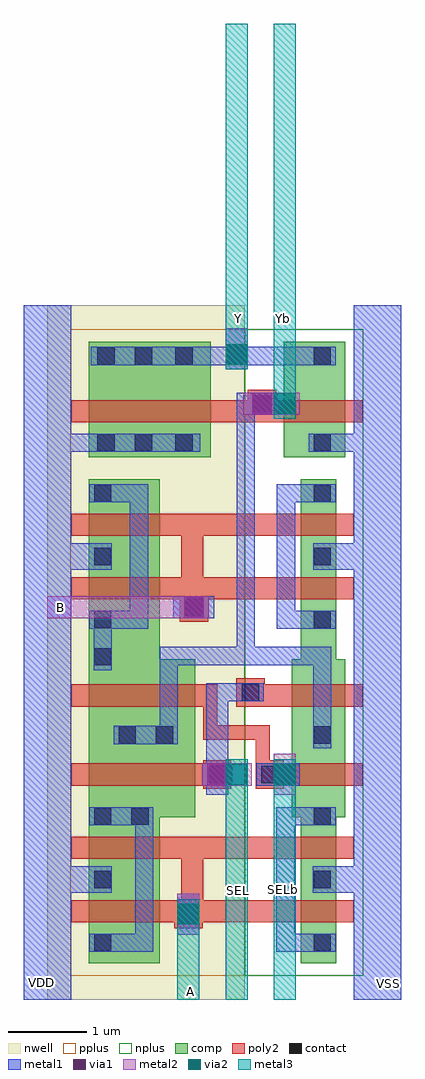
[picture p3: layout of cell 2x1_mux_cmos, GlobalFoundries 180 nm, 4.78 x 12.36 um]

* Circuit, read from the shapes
.subckt 2x1_mux_cmos A B SEL SELb VDD VSS Y Yb
XM1 Y Yb VSS VSUBS nfet_03v3 w=0.775u l=0.28u
XM2 Yb SELb n1 VSUBS nfet_03v3 w=0.675u l=0.28u
XM3 n2 SEL Yb VSUBS nfet_03v3 w=0.675u l=0.28u
XM4 VSS A n1 VSUBS nfet_03v3 w=0.45u l=0.28u m=2
XM5 VSS B n2 VSUBS nfet_03v3 w=0.45u l=0.28u m=2
XM6 VDD A n3 n4 pfet_03v3 w=0.9u l=0.28u m=2
XM7 Yb SEL n3 n4 pfet_03v3 w=1.35u l=0.28u
XM8 n5 SELb Yb n4 pfet_03v3 w=1.35u l=0.28u
XM9 VDD B n5 n4 pfet_03v3 w=0.9u l=0.28u m=2
XM10 Y Yb VDD n4 pfet_03v3 w=1.55u l=0.28u
.ends

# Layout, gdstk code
import gdstk
lib = gdstk.Library(unit=1e-6, precision=5e-09)
def R(c, l, rs):  # rectangles x0, y0, x1, y1
    for r in rs: c.add(gdstk.rectangle(r[:2], r[2:], *l))
def A(c, l, x, y, w, h, nx, ny, dx, dy):  # array of equal rectangles
    R(c, l, [(x+i*dx, y+j*dy, x+i*dx+w, y+j*dy+h) for i in range(nx) for j in range(ny)])
nwell = (21, 0)
comp = (22, 0)
poly2 = (30, 0)
pplus = (31, 0)
nplus = (32, 0)
contact = (33, 0)
metal1 = (34, 0)
via1 = (35, 0)
metal2 = (36, 0)
via2 = (38, 0)
metal3 = (42, 0)

c_2x1_mux_cmos = lib.new_cell('2x1_mux_cmos')
R(c_2x1_mux_cmos, nwell, [(-3.125,-5.58,-0.625,3.21)])
R(c_2x1_mux_cmos, comp, [(-2.605,-5.12,-1.705,1.01), (0.085,-5.12,0.535,1.01), (-2.605,-3.275,-1.255,-1.27), (-0.03,-3.275,0.645,-1.27), (-2.605,1.29,-1.055,2.75), (-0.13,1.29,0.645,2.75)])
R(c_2x1_mux_cmos, poly2, [(-1.52,-4.68,-1.16,-4.32), (-2.825,-4.6,0.755,-4.32), (-1.43,-4.32,-1.15,-3.8), (-2.825,-3.8,0.755,-3.52), (-1.155,-2.91,-0.795,-2.55), (-0.49,-2.91,-0.13,-2.55), (-2.825,-2.87,-1.155,-2.59), (-0.13,-2.87,0.865,-2.59), (-0.49,-2.55,-0.31,-2.29), (-1.155,-2.29,-0.31,-2.11), (-1.155,-2.11,-0.975,-1.87), (-2.825,-1.87,-0.975,-1.59), (-0.735,-1.87,-0.375,-1.51), (-0.375,-1.87,0.865,-1.59), (-1.45,-0.795,-1.09,-0.435), (-2.825,-0.51,0.755,-0.23), (-1.43,-0.23,-1.15,0.29), (-2.825,0.29,0.755,0.57), (-2.825,1.73,0.865,2.01), (-0.59,1.785,-0.23,2.145)])
R(c_2x1_mux_cmos, pplus, [(-2.835,-5.28,-0.625,2.91)])
R(c_2x1_mux_cmos, nplus, [(-0.625,-5.28,0.875,2.91)])
A(c_2x1_mux_cmos, contact, -2.535, -4.97, 0.22, 0.22, 1, 3, 0, 0.8)
A(c_2x1_mux_cmos, contact, 0.245, -4.97, 0.22, 0.22, 1, 3, 0, 0.8)
A(c_2x1_mux_cmos, contact, -2.535, -0.88, 0.22, 0.22, 1, 3, 0, 0.8)
A(c_2x1_mux_cmos, contact, 0.245, -0.88, 0.22, 0.22, 1, 3, 0, 0.8)
R(c_2x1_mux_cmos, contact, [(-1.45,-4.61,-1.23,-4.39), (-2.065,-3.37,-1.845,-3.15), (-1.085,-2.84,-0.865,-2.62), (-0.42,-2.84,-0.2,-2.62), (-2.225,-2.34,-2.005,-2.12), (-1.755,-2.34,-1.535,-2.12), (0.245,-2.34,0.465,-2.12), (-0.665,-1.8,-0.445,-1.58), (-2.535,-1.35,-2.315,-1.13), (-1.38,-0.725,-1.16,-0.505), (-2.495,1.36,-2.275,1.58), (-2.02,1.36,-1.8,1.58), (-1.505,1.36,-1.285,1.58), (0.245,1.36,0.465,1.58), (-0.52,1.855,-0.3,2.075), (-2.495,2.46,-2.275,2.68), (-2.02,2.46,-1.8,2.68), (-1.505,2.46,-1.285,2.68), (0.245,2.46,0.465,2.68)])
R(c_2x1_mux_cmos, metal1, [(-3.425,-5.58,-2.825,3.21), (0.755,-5.58,1.355,3.21), (-2.595,-4.975,-2.015,-4.745), (-2.015,-4.975,-1.785,-3.145), (-0.225,-4.975,0.005,-3.145), (0.005,-4.975,0.525,-4.745), (-1.48,-4.76,-1.2,-4.24), (-2.825,-4.23,-2.31,-3.89), (0.235,-4.23,0.755,-3.89), (-2.595,-3.375,-2.015,-3.145), (0.005,-3.375,0.525,-3.145), (-1.115,-2.99,-0.835,-1.575), (-1.165,-2.87,-0.785,-2.59), (-0.48,-2.87,0.07,-2.59), (0.24,-2.4,0.47,-1.115), (-2.285,-2.345,-1.475,-2.115), (-1.705,-2.115,-1.475,-1.115), (-0.835,-1.805,-0.385,-1.575), (-2.54,-1.41,-2.31,-0.885), (-1.705,-1.345,0.24,-1.115), (-0.73,-1.115,-0.5,1.825), (-2.595,-0.885,-2.08,-0.655), (-2.08,-0.885,-1.85,0.945), (-0.22,-0.885,0.01,0.945), (0.01,-0.885,0.525,-0.655), (-1.53,-0.755,-1.01,-0.475), (-2.825,-0.14,-2.31,0.2), (0.24,-0.14,0.755,0.2), (-2.595,0.715,-2.08,0.945), (0.01,0.715,0.525,0.945), (-2.825,1.355,-1.19,1.585), (0.185,1.355,0.755,1.585), (-0.73,1.825,-0.21,2.105), (-0.5,1.85,-0.27,2.08), (-0.87,2.4,-0.59,2.92), (-2.58,2.455,0.525,2.685)])
R(c_2x1_mux_cmos, via1, [(-1.47,-4.63,-1.21,-4.37), (-1.105,-2.86,-0.845,-2.6), (-0.25,-2.86,0.01,-2.6), (-1.4,-0.745,-1.14,-0.485), (-0.54,1.835,-0.28,2.095), (-0.86,2.46,-0.6,2.72)])
R(c_2x1_mux_cmos, metal2, [(-1.48,-4.76,-1.2,-4.24), (-0.26,-2.99,0.02,-2.47), (-1.165,-2.87,-0.54,-2.59), (-3.125,-0.755,-1.08,-0.475), (-0.645,1.825,0.07,2.105), (-0.87,2.4,-0.59,2.92)])
R(c_2x1_mux_cmos, via2, [(-1.47,-4.63,-1.21,-4.37), (-0.86,-2.86,-0.6,-2.6), (-0.25,-2.86,0.01,-2.6), (-0.25,1.835,0.01,2.095), (-0.86,2.46,-0.6,2.72)])
R(c_2x1_mux_cmos, metal3, [(-1.48,-5.58,-1.2,-4.31), (-0.87,-5.58,-0.59,-2.54), (-0.26,-5.58,0.02,-2.54), (-0.26,1.775,0.02,6.78), (-0.87,2.4,-0.59,6.78)])
c_2x1_mux_cmos.add(gdstk.Label('Yb', (-0.135,3.04), layer=42, texttype=10))
c_2x1_mux_cmos.add(gdstk.Label('Y', (-0.7,3.04), layer=42, texttype=10))
c_2x1_mux_cmos.add(gdstk.Label('A', (-1.315,-5.48), layer=42, texttype=10))
c_2x1_mux_cmos.add(gdstk.Label('SEL', (-0.7,-4.205), layer=42, texttype=10))
c_2x1_mux_cmos.add(gdstk.Label('SELb', (-0.135,-4.19), layer=42, texttype=10))
c_2x1_mux_cmos.add(gdstk.Label('VDD', (-3.2,-5.365), layer=34, texttype=10))
c_2x1_mux_cmos.add(gdstk.Label('VSS', (1.2,-5.375), layer=34, texttype=10))
c_2x1_mux_cmos.add(gdstk.Label('B', (-2.965,-0.615), layer=36, texttype=10))

lib.write_gds('2x1_mux_cmos.gds')
